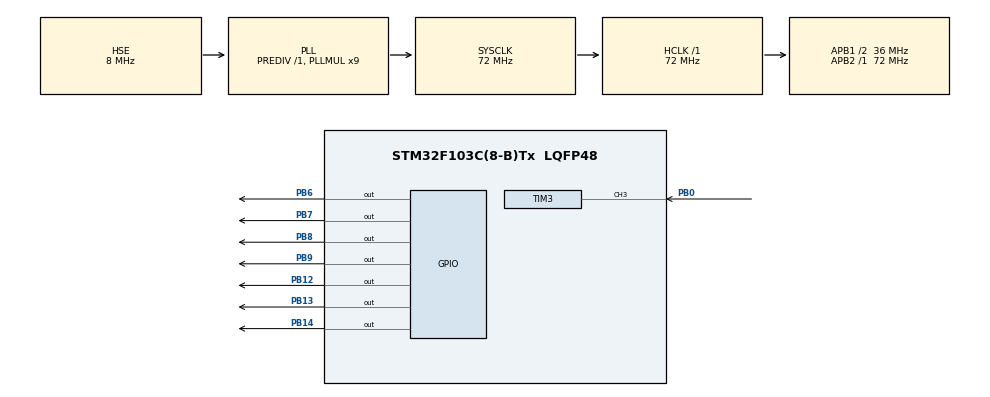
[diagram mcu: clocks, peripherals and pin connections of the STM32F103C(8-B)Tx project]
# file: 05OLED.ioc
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Mcu.Family=STM32F1
Mcu.Name=STM32F103C(8-B)Tx
Mcu.Package=LQFP48
NVIC.PriorityGroup=NVIC_PRIORITYGROUP_4
NVIC.TIM3_IRQn=true\:2\:0\:true\:false\:true\:true\:true\:true
PA13.Mode=Serial_Wire
PA13.Signal=SYS_JTMS-SWDIO
PA14.Mode=Serial_Wire
PA14.Signal=SYS_JTCK-SWCLK
PB0.Signal=S_TIM3_CH3
PB12.Signal=GPIO_Output
PB13.Signal=GPIO_Output
PB14.Signal=GPIO_Output
PB6.Signal=GPIO_Output
PB7.PinState=GPIO_PIN_SET
PB7.Signal=GPIO_Output
PB8.GPIO_ModeDefaultOutputPP=GPIO_MODE_OUTPUT_OD
PB8.GPIO_PuPd=GPIO_PULLUP
PB8.PinState=GPIO_PIN_SET
PB8.Signal=GPIO_Output
PB9.GPIO_ModeDefaultOutputPP=GPIO_MODE_OUTPUT_OD
PB9.GPIO_PuPd=GPIO_PULLUP
PB9.PinState=GPIO_PIN_SET
PB9.Signal=GPIO_Output
PD0-OSC_IN.Mode=HSE-External-Oscillator
PD0-OSC_IN.Signal=RCC_OSC_IN
PD1-OSC_OUT.Mode=HSE-External-Oscillator
PD1-OSC_OUT.Signal=RCC_OSC_OUT
ProjectManager.HeapSize=0x200
ProjectManager.StackSize=0x400
ProjectManager.TargetToolchain=MDK-ARM V5.32
RCC.AHBFreq_Value=72000000
RCC.APB1CLKDivider=RCC_HCLK_DIV2
RCC.APB1Freq_Value=36000000
RCC.APB1TimFreq_Value=72000000
RCC.APB2Freq_Value=72000000
RCC.APB2TimFreq_Value=72000000
RCC.HCLKFreq_Value=72000000
RCC.PLLMUL=RCC_PLL_MUL9
RCC.PLLSourceVirtual=RCC_PLLSOURCE_HSE
RCC.SYSCLKFreq_VALUE=72000000
RCC.SYSCLKSource=RCC_SYSCLKSOURCE_PLLCLK
RCC.USBFreq_Value=72000000
SH.S_TIM3_CH3.0=TIM3_CH3,Input_Capture3_from_TI3
TIM3.AutoReloadPreload=TIM_AUTORELOAD_PRELOAD_ENABLE
TIM3.Channel-Input_Capture3_from_TI3=TIM_CHANNEL_3
TIM3.ICFilter_CH3=2
TIM3.ICPolarity_CH3=TIM_INPUTCHANNELPOLARITY_FALLING
TIM3.Prescaler=71
VP_TIM3_VS_ClockSourceINT.Mode=Internal
board=custom

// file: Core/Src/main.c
/* USER CODE BEGIN Header */
/**
 ******************************************************************************
 * @file           : main.c
 * @brief          : Main program body
 ******************************************************************************
 * @attention
 *
 * Copyright (c) 2025 STMicroelectronics.
 * All rights reserved.
 *
 * This software is licensed under terms that can be found in the LICENSE file
 * in the root directory of this software component.
 * If no LICENSE file comes with this software, it is provided AS-IS.
 *
 ******************************************************************************
 */
/* USER CODE END Header */
#include "main.h"
#include "tim.h"
#include "gpio.h"

/* USER CODE BEGIN Includes */
// 添加OLED显示屏的头文件
#include "OLED.h"

/* USER CODE END Includes */

/* USER CODE BEGIN PTD */
char arr[] = {'B'};
char arr1[] = "Hello World!"; // �Զ����\0

/* USER CODE END PTD */

/* USER CODE BEGIN PV */

uint16_t cnt = 0;
uint32_t IR_temp = 0;
uint8_t IR_buf[4] = {0}; // 用于存储接收到的红外信号数据，初始值为0
/*
 * 功能:通过测量红外接收头引脚上两个下降沿之间的时间差，来解码NEC协议的红外遥控信号。
 * 参数htim：指向TIM_HandleTypeDef结构体的指针，表示发生输入捕获事件的定时器句柄。
 * 返回值：无
 */

/*
为什么用右移？
因为NEC协议发送数据是 低位在前（LSB First）。最先收到的bit应该放在最低位。
每次收到新的bit时，先将之前的数据整体向右移动一位，然后把新收到的状态（0或1）填补在最高位（0x80是二进制的1000 0000）。
移满8次后，最先收到的bit就刚好被推到了最低位（bit 0）。
*/
void HAL_TIM_IC_CaptureCallback(TIM_HandleTypeDef *htim)
{
  // 判断是哪个定时器发生了输入捕获事件
  if (htim->Instance == TIM3)
  {
    uint32_t time_us = HAL_TIM_ReadCapturedValue(&htim3, TIM_CHANNEL_3); // 读取当前捕获到的时间值（即距离上一次下降沿过去了多少微秒）

    // 根据捕获的时间值判断是否为有效的红外信号脉冲
    if (time_us > 12000 && time_us < 15000) /// 9ms+4.5ms = 13500us(说明是NEC协议的起始脉冲)
    {
      cnt = 0;     // 接收到起始信号，清空位数计数器
      IR_temp = 0; // 清空临时数据寄存器
    }
    else if (time_us > 900 && time_us < 1300) // 接收到bit0的脉冲，0.56ms+0.56ms = 1120us
    {
      cnt++;
      IR_temp >>= 1;            // 右移一位，准备接收下一个bit
      IR_temp = IR_temp | 0x00; // 最高位置0（这句其实不起实质作用，因为右移默认补0，但写上逻辑更清晰）
    }
    else if (time_us > 2000 && time_us < 2500) // 接收到bit1的脉冲，0.56ms+1.69ms = 2250us
    {
      cnt++;
      IR_temp >>= 1; // 右移一位，准备接收下一个bit

      // 虽然 IR_temp 是个 32 位变量，但当代码执行 IR_temp = IR_temp | 0x80; 时，它强制写入“1”的位置仅仅是第 7 位（从0开始算），也就是最低那一个字节的最高位，而不是 32 位变量真正的最高位（第31位）。
      /*
      当 cnt == 9 时，又来了一个新 bit 填进第 7 位。同时 IR_temp >>= 1。
      此时，第 1 个字节的最低位（bit 0）去哪了？它被移出了范围，直接被丢弃了！
      等到 cnt == 16 移满第 16 次时，第 1 个字节的 8 个 bit 已经全部被挤出去了，此时 IR_temp 里面装的完完全全是第 2 个字节的全新数据。
      */
      IR_temp = IR_temp | 0x80; // 将最高位（bit 7）置为1
    }
    else
    {
      // 如果时间不在上述任何一个范围内，说明遇到了噪声干扰或者接收错误，直接放弃当前接收，状态复位。
      cnt = 0;
      IR_temp = 0;
    }

    if (cnt == 8) // 当接收到8个bit后，说明已经接收完整的一个字节数据
    {
      IR_buf[0] = IR_temp; // 将接收到的字节数据存储到IR_buf数组中
    }
    else if (cnt == 16) // 当接收到16个bit后，说明已经接收完整的两个字节数据
    {
      IR_buf[1] = IR_temp; // 将接收到的字节数据存储到IR_buf数组中
    }
    else if (cnt == 24) // 当接收到24个bit后，说明已经接收完整的三个字节数据
    {
      IR_buf[2] = IR_temp; // 将接收到的字节数据存储到IR_buf数组中
    }
    else if (cnt == 32) // 当接收到32个bit后，说明已经接收完整的四个字节数据
    {
      IR_buf[3] = IR_temp; // 将接收到的字节数据存储到IR_buf数组中
    }

    __HAL_TIM_SET_COUNTER(&htim3, 0); // 将TIM3的计数器清零，准备接收下一个红外信号脉冲
  }
}

/* USER CODE END PV */

void SystemClock_Config(void);

int main(void)
{

  /* MCU Configuration--------------------------------------------------------*/

  /* Reset of all peripherals, Initializes the Flash interface and the Systick. */
  HAL_Init();

  /* Configure the system clock */
  SystemClock_Config();

  /* Initialize all configured peripherals */
  MX_GPIO_Init();
  MX_TIM3_Init();
  /* USER CODE BEGIN 2 */
  // OLED显示屏初始化
  OLED_Init();
  HAL_TIM_IC_Start_IT(&htim3, TIM_CHANNEL_3);                                             // 启动TIM3的输入捕获功能，使用中断方式
  __HAL_TIM_SET_CAPTUREPOLARITY(&htim3, TIM_CHANNEL_3, TIM_INPUTCHANNELPOLARITY_FALLING); // 设置捕获极性为下降沿
  __HAL_TIM_SET_COUNTER(&htim3, 0);                                                       // 将TIM3的计数器清零 == TIM3->CNT = 0;
  /* USER CODE END 2 */

  /* Infinite loop */
  /* USER CODE BEGIN WHILE */
  while (1)
  {
    if (cnt == 32) // 当接收到完整的32个bit数据后，说明已经接收完整的一个红外信号帧，可以进行处理和显示
    {
      cnt = 0;                          // 接收完成后将计数器清零，准备接收下一个红外信号
      OLED_ShowNum(1, 1, IR_buf[0], 4); // 地址码在OLED显示屏的第一行第一列显示接收到的第一个字节数据，长度为4位
      OLED_ShowNum(2, 1, IR_buf[1], 4); // 地址反码在OLED显示屏的第二行第一列显示接收到的第二个字节数据，长度为4位
      OLED_ShowNum(3, 1, IR_buf[2], 4); // 命令码在OLED显示屏的第三行第一列显示接收到的第三个字节数据，长度为4位
      OLED_ShowNum(4, 1, IR_buf[3], 4); // 命令反码在OLED显示屏的第四行第一列显示接收到的第四个字节数据，长度为4位

      if (IR_buf[0] == (uint8_t)~IR_buf[1] && IR_buf[2] == (uint8_t)~IR_buf[3]) // 如果地址码和地址反码互补，命令码和命令反码互补，说明接收到的红外信号数据是有效的，可以进行进一步处理
      {
        switch (IR_buf[2])
        {
        case 0X45: // 如果命令码是0X45，说明按下了遥控器上的数字键1，可以执行相应的操作
          /* code */
          HAL_GPIO_WritePin(GPIOB, GPIO_PIN_12, GPIO_PIN_SET); // 红灯开
          break;
        case 0x46:
          /* code */
          HAL_GPIO_WritePin(GPIOB, GPIO_PIN_13, GPIO_PIN_SET); // 绿灯开
          break;
        case 0x47:
          /* code */
          HAL_GPIO_WritePin(GPIOB, GPIO_PIN_14, GPIO_PIN_SET); // 蓝灯开
          break;
        case 0x44:
          /* code */
          HAL_GPIO_WritePin(GPIOB, GPIO_PIN_12, GPIO_PIN_RESET); // 红灯关
          break;
        case 0x40:
          /* code */
          HAL_GPIO_WritePin(GPIOB, GPIO_PIN_13, GPIO_PIN_RESET); // 绿灯关
          break;
        case 0x43:
          /* code */
          HAL_GPIO_WritePin(GPIOB, GPIO_PIN_14, GPIO_PIN_RESET); // 蓝灯关
          break;

        default:
          break;
        }
      }
    }
    /* USER CODE END WHILE */

  }
}

void SystemClock_Config(void)
{
  RCC_OscInitTypeDef RCC_OscInitStruct = {0};
  RCC_ClkInitTypeDef RCC_ClkInitStruct = {0};

  /** Initializes the RCC Oscillators according to the specified parameters
   * in the RCC_OscInitTypeDef structure.
   */
  RCC_OscInitStruct.OscillatorType = RCC_OSCILLATORTYPE_HSE;
  RCC_OscInitStruct.HSEState = RCC_HSE_ON;
  RCC_OscInitStruct.HSEPredivValue = RCC_HSE_PREDIV_DIV1;
  RCC_OscInitStruct.HSIState = RCC_HSI_ON;
  RCC_OscInitStruct.PLL.PLLState = RCC_PLL_ON;
  RCC_OscInitStruct.PLL.PLLSource = RCC_PLLSOURCE_HSE;
  RCC_OscInitStruct.PLL.PLLMUL = RCC_PLL_MUL9;
  if (HAL_RCC_OscConfig(&RCC_OscInitStruct) != HAL_OK)
  {
    Error_Handler();
  }

  /** Initializes the CPU, AHB and APB buses clocks
   */
  RCC_ClkInitStruct.ClockType = RCC_CLOCKTYPE_HCLK | RCC_CLOCKTYPE_SYSCLK | RCC_CLOCKTYPE_PCLK1 | RCC_CLOCKTYPE_PCLK2;
  RCC_ClkInitStruct.SYSCLKSource = RCC_SYSCLKSOURCE_PLLCLK;
  RCC_ClkInitStruct.AHBCLKDivider = RCC_SYSCLK_DIV1;
  RCC_ClkInitStruct.APB1CLKDivider = RCC_HCLK_DIV2;
  RCC_ClkInitStruct.APB2CLKDivider = RCC_HCLK_DIV1;

  if (HAL_RCC_ClockConfig(&RCC_ClkInitStruct, FLASH_LATENCY_2) != HAL_OK)
  {
    Error_Handler();
  }
}

void Error_Handler(void)
{
  __disable_irq();
  while (1)
  {
  }
}
